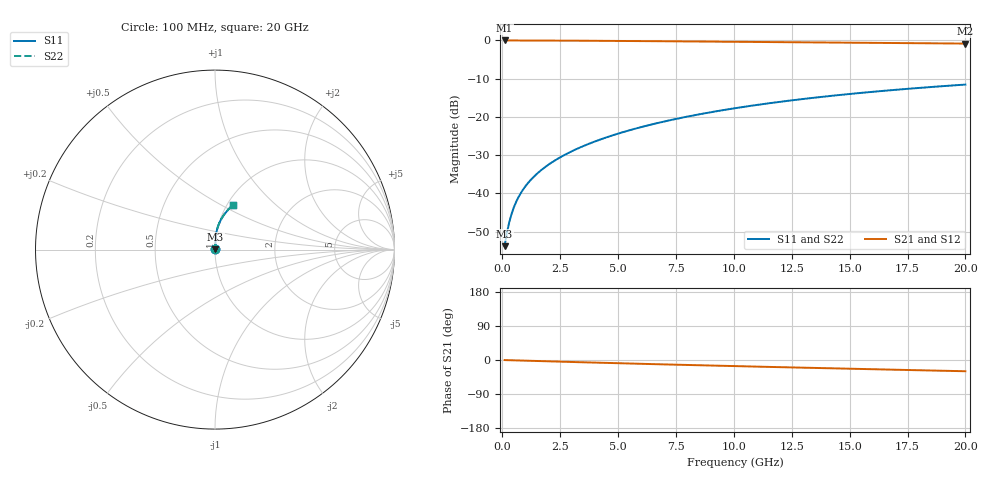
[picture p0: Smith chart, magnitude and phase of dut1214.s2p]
! Touchstone file exported from HFSS 2024.1.0
!  File:  C:/UserFiles/LocalFiles/RDL_TSV_Batchsim/temp_RDL_top_1214_1780239966.aedt
!  Generated:  11:08:37 PM May 31, 2026
!  Design:  RDL_top
!  Project:  temp_RDL_top_1214_1780239966
!  Setup:  Setup1
!  Solution:  Sweep
! Variables:
!  dtsv = 10.80580581um
!  hbump = 3um
!  htsv = 90.67um
!  ldown = 100um
!  lrdl = 430.56um
!  p = 40
!  p1 = 46.74um
!  rhole = 1um
!  t = 450um
!  tdown = 3.915915916um
!  trdl = 4.79um
!  wdown = 15.38538539um
!  wrdl = 22.68um
# GHz S MA R 50.000000
! Terminal data exported
! Port[1] = Box2_T1
! Port[2] = Box2_T2
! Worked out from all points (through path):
!   200 points, 100 MHz to 20 GHz, reference 50 ohm
!   highest |S21| = -0.01 dB at 100 MHz (marker M1); lowest = -0.8 dB at 20 GHz (marker M2)
!   group delay of S21, straight-line fit = 4.07 ps
!   lowest |S11| = -53.8 dB at 100 MHz (marker M3), VSWR 1.00, Z = 50.2 + j0.131 ohm
!   |S11| at or under -10 dB: start of sweep to end of sweep
!   |S22| runs from -53.8 to -11.5 dB; largest |S21 - S12| = 4.3e-15
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0.1  0.002049 39.6  0.9984 -0.2  0.9984 -0.2  0.002049 39.6
! Gamma 0 0 0 0
! Port Impedance 50 0 50 0
0.2  0.003051 58.6  0.9983 -0.4  0.9983 -0.4  0.00305 58.6
0.3  0.004204 67.5  0.9982 -0.5  0.9982 -0.5  0.004204 67.5
0.4  0.005398 72.3  0.998 -0.7  0.998 -0.7  0.005397 72.3
0.5  0.006595 75.3  0.9979 -0.9  0.9979 -0.9  0.006594 75.3
0.7  0.008965 78.7  0.9977 -1.2  0.9977 -1.2  0.008964 78.7
0.8  0.01013 79.7  0.9976 -1.4  0.9976 -1.4  0.01013 79.7
1  0.01244 81.2  0.9973 -1.8  0.9973 -1.8  0.01244 81.2
1.2  0.01473 82.3  0.997 -2.1  0.997 -2.1  0.01472 82.3
1.4  0.017 83.1  0.9967 -2.5  0.9967 -2.5  0.017 83.1
1.7  0.02042 84.1  0.9961 -3.0  0.9961 -3.0  0.02042 84.1
2  0.02385 84.8  0.9954 -3.5  0.9954 -3.5  0.02386 84.8
2.7  0.03202 86.0  0.9934 -4.7  0.9934 -4.7  0.03202 86.0
3.5  0.04164 86.7  0.9907 -6.1  0.9907 -6.1  0.04164 86.7
4.2  0.05032 87.0  0.9879 -7.2  0.9879 -7.2  0.05032 87.0
5  0.06053 87.0  0.9844 -8.5  0.9844 -8.5  0.06054 87.0
6.8  0.08454 86.1  0.9758 -11.3  0.9758 -11.3  0.08455 86.1
8.4  0.1067 84.6  0.9678 -13.7  0.9678 -13.7  0.1067 84.6
10.1  0.1308 82.6  0.9592 -16.2  0.9592 -16.2  0.1308 82.6
13.4  0.1774 78.0  0.9425 -20.9  0.9425 -20.9  0.1774 78.0
16.7  0.2224 73.1  0.9258 -25.3  0.9258 -25.3  0.2225 73.1
20  0.2648 68.2  0.909 -29.7  0.909 -29.7  0.2649 68.2
